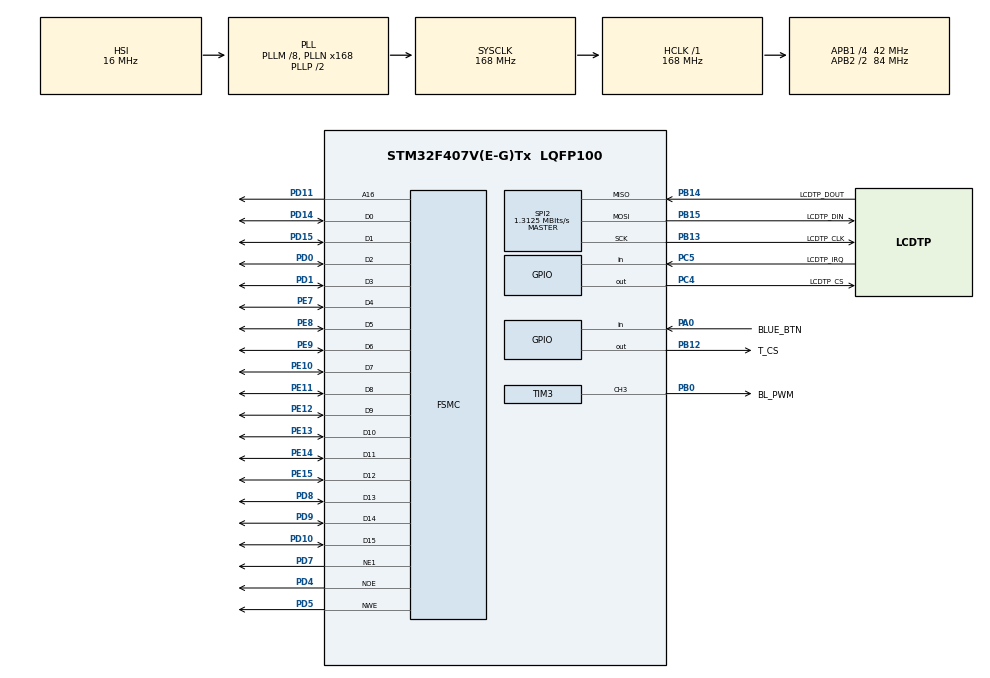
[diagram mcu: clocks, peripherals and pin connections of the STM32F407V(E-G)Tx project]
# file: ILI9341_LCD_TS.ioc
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FSMC.BusTurnAroundDuration1=0
FSMC.DataSetupTime1=60
FSMC.ExtendedAddressSetupTime1=4
FSMC.ExtendedBusTurnAroundDuration1=0
FSMC.ExtendedDataSetupTime1=5
FSMC.ExtendedMode1=FSMC_EXTENDED_MODE_ENABLE
Mcu.Family=STM32F4
Mcu.Name=STM32F407V(E-G)Tx
Mcu.Package=LQFP100
NVIC.PriorityGroup=NVIC_PRIORITYGROUP_4
PA0-WKUP.GPIO_Label=BLUE_BTN
PA0-WKUP.Signal=GPIO_Input
PB0.GPIO_Label=BL_PWM
PB0.Signal=S_TIM3_CH3
PB12.GPIO_Label=T_CS
PB12.Signal=GPIO_Output
PB13.GPIO_Label=LCDTP_CLK
PB13.Mode=Full_Duplex_Master
PB13.Signal=SPI2_SCK
PB14.GPIO_Label=LCDTP_DOUT
PB14.Mode=Full_Duplex_Master
PB14.Signal=SPI2_MISO
PB15.GPIO_Label=LCDTP_DIN
PB15.Mode=Full_Duplex_Master
PB15.Signal=SPI2_MOSI
PC4.GPIO_Label=LCDTP_CS
PC4.Signal=GPIO_Output
PC5.GPIO_Label=LCDTP_IRQ
PC5.Signal=GPIO_Input
PD0.Mode=16b-d1
PD0.Signal=FSMC_D2
PD1.Mode=16b-d1
PD1.Signal=FSMC_D3
PD10.Mode=16b-d1
PD10.Signal=FSMC_D15
PD11.Mode=A16_1
PD11.Signal=FSMC_A16
PD14.Mode=16b-d1
PD14.Signal=FSMC_D0
PD15.Mode=16b-d1
PD15.Signal=FSMC_D1
PD4.Mode=Lcd1
PD4.Signal=FSMC_NOE
PD5.Mode=Lcd1
PD5.Signal=FSMC_NWE
PD7.Mode=NorPsramChipSelect1_1
PD7.Signal=FSMC_NE1
PD8.Mode=16b-d1
PD8.Signal=FSMC_D13
PD9.Mode=16b-d1
PD9.Signal=FSMC_D14
PE10.Mode=16b-d1
PE10.Signal=FSMC_D7
PE11.Mode=16b-d1
PE11.Signal=FSMC_D8
PE12.Mode=16b-d1
PE12.Signal=FSMC_D9
PE13.Mode=16b-d1
PE13.Signal=FSMC_D10
PE14.Mode=16b-d1
PE14.Signal=FSMC_D11
PE15.Mode=16b-d1
PE15.Signal=FSMC_D12
PE7.Mode=16b-d1
PE7.Signal=FSMC_D4
PE8.Mode=16b-d1
PE8.Signal=FSMC_D5
PE9.Mode=16b-d1
PE9.Signal=FSMC_D6
ProjectManager.HeapSize=0x400
ProjectManager.StackSize=0x800
ProjectManager.TargetToolchain=STM32CubeIDE
RCC.48MHZClocksFreq_Value=48000000
RCC.AHBFreq_Value=168000000
RCC.APB1CLKDivider=RCC_HCLK_DIV4
RCC.APB1Freq_Value=42000000
RCC.APB1TimFreq_Value=84000000
RCC.APB2CLKDivider=RCC_HCLK_DIV2
RCC.APB2Freq_Value=84000000
RCC.APB2TimFreq_Value=168000000
RCC.CortexFreq_Value=168000000
RCC.HCLKFreq_Value=168000000
RCC.HSE_VALUE=25000000
RCC.HSI_VALUE=16000000
RCC.LSE_VALUE=32768
RCC.PLLM=8
RCC.PLLN=168
RCC.PLLQ=7
RCC.SYSCLKFreq_VALUE=168000000
RCC.SYSCLKSource=RCC_SYSCLKSOURCE_PLLCLK
RCC.VCOOutputFreq_Value=336000000
SH.S_TIM3_CH3.0=TIM3_CH3,PWM Generation3 CH3
SPI2.BaudRatePrescaler=SPI_BAUDRATEPRESCALER_32
SPI2.CalculateBaudRate=1.3125 MBits/s
SPI2.Direction=SPI_DIRECTION_2LINES
SPI2.Mode=SPI_MODE_MASTER
SPI2.VirtualType=VM_MASTER
TIM3.Channel-PWM\ Generation3\ CH3=TIM_CHANNEL_3
VP_TIM3_VS_ClockSourceINT.Mode=Internal
board=custom

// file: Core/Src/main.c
/* USER CODE BEGIN Header */
/**
  ******************************************************************************
  * @file           : main.c
  * @brief          : Main program body
  ******************************************************************************
  * @attention
  *
  * Copyright (c) 2025 STMicroelectronics.
  * All rights reserved.
  *
  * This software is licensed under terms that can be found in the LICENSE file
  * in the root directory of this software component.
  * If no LICENSE file comes with this software, it is provided AS-IS.
  *
  ******************************************************************************
  */
/* USER CODE END Header */
#include "main.h"

/* USER CODE BEGIN Includes */

#include "fonts.h"
#include "ili9341.h"
#include "GUI.h"
#include "touch_panel.h"
/* USER CODE END Includes */

/* USER CODE BEGIN PD */

#define setPWM(x) __HAL_TIM_SET_COMPARE(&htim3, TIM_CHANNEL_3, x);

/* USER CODE END PD */

SPI_HandleTypeDef hspi2;

TIM_HandleTypeDef htim3;

SRAM_HandleTypeDef hsram1;

/* USER CODE BEGIN PV */
uint8_t idx[15];
/* USER CODE END PV */

void SystemClock_Config(void);
static void MX_GPIO_Init(void);
static void MX_FSMC_Init(void);
static void MX_SPI2_Init(void);
static void MX_TIM3_Init(void);

int main(void)
{

  /* MCU Configuration--------------------------------------------------------*/

  /* Reset of all peripherals, Initializes the Flash interface and the Systick. */
  HAL_Init();

  /* Configure the system clock */
  SystemClock_Config();

  /* Initialize all configured peripherals */
  MX_GPIO_Init();
  MX_FSMC_Init();
  MX_SPI2_Init();
  MX_TIM3_Init();
  /* USER CODE BEGIN 2 */
  HAL_TIM_PWM_Start(&htim3, TIM_CHANNEL_3); // enable PWM back light
  setPWM(65535);

  LCD_ILI9341_init();
  lcdSetOrientation(LCD_ORIENTATION_LANDSCAPE);
  LCD_ClrScr(0);
  TouchPanel_Calibrate();
  paint_proc();

  /* USER CODE END 2 */

  /* Infinite loop */
  /* USER CODE BEGIN WHILE */
  while (1)
  {

	  LCD_ClrScr(0x1f);
	  HAL_Delay(1000);
	  LCD_ClrScr(0xf800);
	  HAL_Delay(1000);
	  LCD_ClrScr(0x07e0);
	  HAL_Delay(1000);
    /* USER CODE END WHILE */

  }
}

void SystemClock_Config(void)
{
  RCC_OscInitTypeDef RCC_OscInitStruct = {0};
  RCC_ClkInitTypeDef RCC_ClkInitStruct = {0};

  /** Configure the main internal regulator output voltage
  */
  __HAL_RCC_PWR_CLK_ENABLE();
  __HAL_PWR_VOLTAGESCALING_CONFIG(PWR_REGULATOR_VOLTAGE_SCALE1);

  /** Initializes the RCC Oscillators according to the specified parameters
  * in the RCC_OscInitTypeDef structure.
  */
  RCC_OscInitStruct.OscillatorType = RCC_OSCILLATORTYPE_HSI;
  RCC_OscInitStruct.HSIState = RCC_HSI_ON;
  RCC_OscInitStruct.HSICalibrationValue = RCC_HSICALIBRATION_DEFAULT;
  RCC_OscInitStruct.PLL.PLLState = RCC_PLL_ON;
  RCC_OscInitStruct.PLL.PLLSource = RCC_PLLSOURCE_HSI;
  RCC_OscInitStruct.PLL.PLLM = 8;
  RCC_OscInitStruct.PLL.PLLN = 168;
  RCC_OscInitStruct.PLL.PLLP = RCC_PLLP_DIV2;
  RCC_OscInitStruct.PLL.PLLQ = 7;
  if (HAL_RCC_OscConfig(&RCC_OscInitStruct) != HAL_OK)
  {
    Error_Handler();
  }

  /** Initializes the CPU, AHB and APB buses clocks
  */
  RCC_ClkInitStruct.ClockType = RCC_CLOCKTYPE_HCLK|RCC_CLOCKTYPE_SYSCLK
                              |RCC_CLOCKTYPE_PCLK1|RCC_CLOCKTYPE_PCLK2;
  RCC_ClkInitStruct.SYSCLKSource = RCC_SYSCLKSOURCE_PLLCLK;
  RCC_ClkInitStruct.AHBCLKDivider = RCC_SYSCLK_DIV1;
  RCC_ClkInitStruct.APB1CLKDivider = RCC_HCLK_DIV4;
  RCC_ClkInitStruct.APB2CLKDivider = RCC_HCLK_DIV2;

  if (HAL_RCC_ClockConfig(&RCC_ClkInitStruct, FLASH_LATENCY_5) != HAL_OK)
  {
    Error_Handler();
  }
}

static void MX_SPI2_Init(void)
{

  /* SPI2 parameter configuration*/
  hspi2.Instance = SPI2;
  hspi2.Init.Mode = SPI_MODE_MASTER;
  hspi2.Init.Direction = SPI_DIRECTION_2LINES;
  hspi2.Init.DataSize = SPI_DATASIZE_8BIT;
  hspi2.Init.CLKPolarity = SPI_POLARITY_LOW;
  hspi2.Init.CLKPhase = SPI_PHASE_1EDGE;
  hspi2.Init.NSS = SPI_NSS_SOFT;
  hspi2.Init.BaudRatePrescaler = SPI_BAUDRATEPRESCALER_32;
  hspi2.Init.FirstBit = SPI_FIRSTBIT_MSB;
  hspi2.Init.TIMode = SPI_TIMODE_DISABLE;
  hspi2.Init.CRCCalculation = SPI_CRCCALCULATION_DISABLE;
  hspi2.Init.CRCPolynomial = 10;
  if (HAL_SPI_Init(&hspi2) != HAL_OK)
  {
    Error_Handler();
  }

}

static void MX_TIM3_Init(void)
{

  TIM_ClockConfigTypeDef sClockSourceConfig = {0};
  TIM_MasterConfigTypeDef sMasterConfig = {0};
  TIM_OC_InitTypeDef sConfigOC = {0};

  htim3.Instance = TIM3;
  htim3.Init.Prescaler = 0;
  htim3.Init.CounterMode = TIM_COUNTERMODE_UP;
  htim3.Init.Period = 65535;
  htim3.Init.ClockDivision = TIM_CLOCKDIVISION_DIV1;
  htim3.Init.AutoReloadPreload = TIM_AUTORELOAD_PRELOAD_DISABLE;
  if (HAL_TIM_Base_Init(&htim3) != HAL_OK)
  {
    Error_Handler();
  }
  sClockSourceConfig.ClockSource = TIM_CLOCKSOURCE_INTERNAL;
  if (HAL_TIM_ConfigClockSource(&htim3, &sClockSourceConfig) != HAL_OK)
  {
    Error_Handler();
  }
  if (HAL_TIM_PWM_Init(&htim3) != HAL_OK)
  {
    Error_Handler();
  }
  sMasterConfig.MasterOutputTrigger = TIM_TRGO_RESET;
  sMasterConfig.MasterSlaveMode = TIM_MASTERSLAVEMODE_DISABLE;
  if (HAL_TIMEx_MasterConfigSynchronization(&htim3, &sMasterConfig) != HAL_OK)
  {
    Error_Handler();
  }
  sConfigOC.OCMode = TIM_OCMODE_PWM1;
  sConfigOC.Pulse = 0;
  sConfigOC.OCPolarity = TIM_OCPOLARITY_HIGH;
  sConfigOC.OCFastMode = TIM_OCFAST_DISABLE;
  if (HAL_TIM_PWM_ConfigChannel(&htim3, &sConfigOC, TIM_CHANNEL_3) != HAL_OK)
  {
    Error_Handler();
  }
  HAL_TIM_MspPostInit(&htim3);

}

static void MX_GPIO_Init(void)
{
  GPIO_InitTypeDef GPIO_InitStruct = {0};

  /* GPIO Ports Clock Enable */
  __HAL_RCC_GPIOA_CLK_ENABLE();
  __HAL_RCC_GPIOC_CLK_ENABLE();
  __HAL_RCC_GPIOB_CLK_ENABLE();
  __HAL_RCC_GPIOE_CLK_ENABLE();
  __HAL_RCC_GPIOD_CLK_ENABLE();

  /*Configure GPIO pin Output Level */
  HAL_GPIO_WritePin(LCDTP_CS_GPIO_Port, LCDTP_CS_Pin, GPIO_PIN_RESET);

  /*Configure GPIO pin Output Level */
  HAL_GPIO_WritePin(T_CS_GPIO_Port, T_CS_Pin, GPIO_PIN_RESET);

  /*Configure GPIO pin : BLUE_BTN_Pin */
  GPIO_InitStruct.Pin = BLUE_BTN_Pin;
  GPIO_InitStruct.Mode = GPIO_MODE_INPUT;
  GPIO_InitStruct.Pull = GPIO_NOPULL;
  HAL_GPIO_Init(BLUE_BTN_GPIO_Port, &GPIO_InitStruct);

  /*Configure GPIO pin : LCDTP_CS_Pin */
  GPIO_InitStruct.Pin = LCDTP_CS_Pin;
  GPIO_InitStruct.Mode = GPIO_MODE_OUTPUT_PP;
  GPIO_InitStruct.Pull = GPIO_NOPULL;
  GPIO_InitStruct.Speed = GPIO_SPEED_FREQ_LOW;
  HAL_GPIO_Init(LCDTP_CS_GPIO_Port, &GPIO_InitStruct);

  /*Configure GPIO pin : LCDTP_IRQ_Pin */
  GPIO_InitStruct.Pin = LCDTP_IRQ_Pin;
  GPIO_InitStruct.Mode = GPIO_MODE_INPUT;
  GPIO_InitStruct.Pull = GPIO_NOPULL;
  HAL_GPIO_Init(LCDTP_IRQ_GPIO_Port, &GPIO_InitStruct);

  /*Configure GPIO pin : T_CS_Pin */
  GPIO_InitStruct.Pin = T_CS_Pin;
  GPIO_InitStruct.Mode = GPIO_MODE_OUTPUT_PP;
  GPIO_InitStruct.Pull = GPIO_NOPULL;
  GPIO_InitStruct.Speed = GPIO_SPEED_FREQ_LOW;
  HAL_GPIO_Init(T_CS_GPIO_Port, &GPIO_InitStruct);

}

/* FSMC initialization function */
static void MX_FSMC_Init(void)
{

  FSMC_NORSRAM_TimingTypeDef Timing = {0};
  FSMC_NORSRAM_TimingTypeDef ExtTiming = {0};

  /** Perform the SRAM1 memory initialization sequence
  */
  hsram1.Instance = FSMC_NORSRAM_DEVICE;
  hsram1.Extended = FSMC_NORSRAM_EXTENDED_DEVICE;
  /* hsram1.Init */
  hsram1.Init.NSBank = FSMC_NORSRAM_BANK1;
  hsram1.Init.DataAddressMux = FSMC_DATA_ADDRESS_MUX_DISABLE;
  hsram1.Init.MemoryType = FSMC_MEMORY_TYPE_SRAM;
  hsram1.Init.MemoryDataWidth = FSMC_NORSRAM_MEM_BUS_WIDTH_16;
  hsram1.Init.BurstAccessMode = FSMC_BURST_ACCESS_MODE_DISABLE;
  hsram1.Init.WaitSignalPolarity = FSMC_WAIT_SIGNAL_POLARITY_LOW;
  hsram1.Init.WrapMode = FSMC_WRAP_MODE_DISABLE;
  hsram1.Init.WaitSignalActive = FSMC_WAIT_TIMING_BEFORE_WS;
  hsram1.Init.WriteOperation = FSMC_WRITE_OPERATION_ENABLE;
  hsram1.Init.WaitSignal = FSMC_WAIT_SIGNAL_DISABLE;
  hsram1.Init.ExtendedMode = FSMC_EXTENDED_MODE_ENABLE;
  hsram1.Init.AsynchronousWait = FSMC_ASYNCHRONOUS_WAIT_DISABLE;
  hsram1.Init.WriteBurst = FSMC_WRITE_BURST_DISABLE;
  hsram1.Init.PageSize = FSMC_PAGE_SIZE_NONE;
  /* Timing */
  Timing.AddressSetupTime = 15;
  Timing.AddressHoldTime = 15;
  Timing.DataSetupTime = 60;
  Timing.BusTurnAroundDuration = 0;
  Timing.CLKDivision = 16;
  Timing.DataLatency = 17;
  Timing.AccessMode = FSMC_ACCESS_MODE_A;
  /* ExtTiming */
  ExtTiming.AddressSetupTime = 4;
  ExtTiming.AddressHoldTime = 15;
  ExtTiming.DataSetupTime = 5;
  ExtTiming.BusTurnAroundDuration = 0;
  ExtTiming.CLKDivision = 16;
  ExtTiming.DataLatency = 17;
  ExtTiming.AccessMode = FSMC_ACCESS_MODE_A;

  if (HAL_SRAM_Init(&hsram1, &Timing, &ExtTiming) != HAL_OK)
  {
    Error_Handler( );
  }

}

void Error_Handler(void)
{
  __disable_irq();
  while (1)
  {
  }
}
